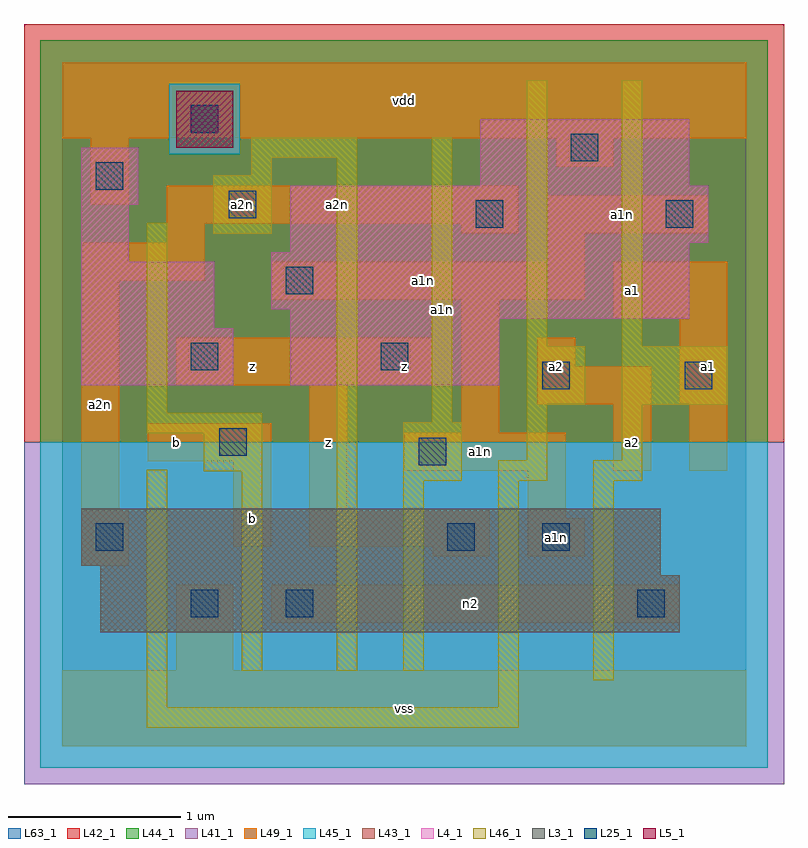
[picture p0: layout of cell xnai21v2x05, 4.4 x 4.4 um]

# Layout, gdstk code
import gdstk
lib = gdstk.Library(unit=1e-6, precision=1e-09)
def R(c, l, rs):  # rectangles x0, y0, x1, y1
    for r in rs: c.add(gdstk.rectangle(r[:2], r[2:], *l))
L3_1 = (3, 1)
L4_1 = (4, 1)
L5_1 = (5, 1)
L25_1 = (25, 1)
L41_1 = (41, 1)
L42_1 = (42, 1)
L43_1 = (43, 1)
L44_1 = (44, 1)
L45_1 = (45, 1)
L46_1 = (46, 1)
L49_1 = (49, 1)
L63_1 = (63, 1)

xnai21v2x05 = lib.new_cell('xnai21v2x05')
R(xnai21v2x05, L3_1, [(0.22,0.66,3.575,0.99), (0.22,0.99,3.465,1.045), (0.11,1.045,3.465,1.375)])
R(xnai21v2x05, L4_1, [(0.11,2.09,0.99,2.42), (1.32,2.09,2.53,2.475), (0.11,2.42,0.88,2.805), (1.32,2.475,3.63,2.53), (1.21,2.53,3.63,2.86), (0.11,2.805,0.385,3.135), (1.32,2.86,3.63,2.915), (1.32,2.915,3.74,3.245), (0.11,3.135,0.44,3.465), (2.42,3.245,3.63,3.63)])
R(xnai21v2x05, L5_1, [(0.66,3.465,0.99,3.795)])
R(xnai21v2x05, L25_1, [(0.745,0.745,0.905,0.905), (1.295,0.745,1.455,0.905), (3.33,0.745,3.49,0.905), (0.195,1.13,0.355,1.29), (2.23,1.13,2.39,1.29), (2.78,1.13,2.94,1.29), (2.065,1.625,2.225,1.785), (0.91,1.68,1.07,1.84), (2.78,2.065,2.94,2.225), (3.605,2.065,3.765,2.225), (0.745,2.175,0.905,2.335), (1.845,2.175,2.005,2.335), (1.295,2.615,1.455,2.775), (2.395,3,2.555,3.16), (3.495,3,3.655,3.16), (0.965,3.055,1.125,3.215), (0.195,3.22,0.355,3.38), (2.945,3.385,3.105,3.545), (0.745,3.55,0.905,3.71)])
R(xnai21v2x05, L41_1, [(-0.22,-0.22,4.18,1.76)])
R(xnai21v2x05, L42_1, [(-0.22,1.76,4.18,4.18)])
R(xnai21v2x05, L43_1, [(0.22,0.66,3.575,0.99), (0.22,0.99,3.465,1.045), (0.11,1.045,3.465,1.375), (0.11,2.09,0.99,2.42), (1.32,2.09,2.53,2.475), (0.11,2.42,0.88,2.805), (1.32,2.475,3.63,2.53), (1.21,2.53,3.63,2.86), (0.11,2.805,0.385,3.135), (1.32,2.86,3.63,2.915), (1.32,2.915,3.74,3.245), (0.11,3.135,0.44,3.465), (2.42,3.245,3.63,3.63), (0.66,3.465,0.99,3.795)])
R(xnai21v2x05, L44_1, [(-0.125,1.76,4.085,3.425), (-0.125,3.425,0.62,3.835), (1.03,3.425,4.085,3.835), (-0.125,3.835,4.085,4.085)])
R(xnai21v2x05, L45_1, [(-0.125,-0.125,4.085,1.76), (0.62,3.425,1.03,3.835)])
R(xnai21v2x05, L46_1, [(0.49,0.105,2.645,0.225), (0.49,0.225,0.61,1.6), (2.525,0.225,2.645,1.535), (3.075,0.38,3.195,1.535), (1.04,0.435,1.16,1.59), (1.59,0.435,1.71,3.405), (1.975,0.435,2.095,1.535), (1.975,1.535,2.315,1.875), (2.525,1.535,2.81,1.655), (3.075,1.535,3.36,1.655), (0.82,1.59,1.16,1.81), (2.69,1.655,2.81,1.975), (3.24,1.655,3.36,1.975), (0.49,1.81,1.16,1.93), (2.14,1.875,2.26,3.525), (0.49,1.93,0.61,3.03), (2.69,1.975,3.03,2.315), (3.24,1.975,3.855,2.315), (2.69,2.315,2.81,3.855), (3.24,2.315,3.36,3.855), (0.875,2.965,1.215,3.305), (1.095,3.305,1.215,3.405), (1.095,3.405,1.71,3.525)])
R(xnai21v2x05, L49_1, [(0,0,3.96,0.44), (0.66,0.44,0.99,0.935), (1.21,0.715,3.575,0.935), (0.11,1.045,0.385,1.375), (2.145,1.1,2.475,1.155), (2.695,1.1,3.025,1.32), (0.99,1.155,1.21,1.65), (1.43,1.155,2.475,1.375), (2.695,1.32,2.915,1.595), (0.11,1.375,0.33,2.695), (1.43,1.375,1.65,2.09), (1.98,1.595,2.915,1.815), (3.19,1.595,3.41,1.98), (3.63,1.595,3.85,1.98), (0.495,1.65,1.21,1.87), (2.31,1.815,2.53,2.585), (2.75,1.98,3.41,2.2), (3.575,1.98,3.85,2.475), (0.66,2.09,2.145,2.365), (2.75,2.2,2.97,2.365), (3.19,2.475,3.85,2.805), (1.21,2.585,3.025,2.805), (0.11,2.695,0.825,2.915), (2.805,2.805,3.025,2.97), (0.605,2.915,0.825,3.025), (2.31,2.97,2.64,3.025), (2.805,2.97,3.74,3.19), (0.605,3.025,2.64,3.245), (0.165,3.135,0.385,3.52), (2.86,3.355,3.19,3.52), (0,3.52,3.96,3.96)])
R(xnai21v2x05, L63_1, [(0,0,3.96,3.96)])
xnai21v2x05.add(gdstk.Label('a2n', (1.045,3.135), layer=49, texttype=1))
xnai21v2x05.add(gdstk.Label('a1n', (2.2,2.53), layer=46, texttype=1))
xnai21v2x05.add(gdstk.Label('b', (0.66,1.76), layer=49, texttype=1))
xnai21v2x05.add(gdstk.Label('a2n', (0.22,1.98), layer=49, texttype=1))
xnai21v2x05.add(gdstk.Label('b', (1.1,1.32), layer=49, texttype=1))
xnai21v2x05.add(gdstk.Label('z', (1.54,1.76), layer=49, texttype=1))
xnai21v2x05.add(gdstk.Label('z', (1.1,2.2), layer=49, texttype=1))
xnai21v2x05.add(gdstk.Label('vss', (1.98,0.22), layer=49, texttype=1))
xnai21v2x05.add(gdstk.Label('a1n', (2.42,1.705), layer=49, texttype=1))
xnai21v2x05.add(gdstk.Label('a1n', (2.86,1.21), layer=49, texttype=1))
xnai21v2x05.add(gdstk.Label('a2', (2.86,2.2), layer=49, texttype=1))
xnai21v2x05.add(gdstk.Label('z', (1.98,2.2), layer=49, texttype=1))
xnai21v2x05.add(gdstk.Label('a1n', (2.09,2.695), layer=49, texttype=1))
xnai21v2x05.add(gdstk.Label('a2n', (1.595,3.135), layer=49, texttype=1))
xnai21v2x05.add(gdstk.Label('vdd', (1.98,3.74), layer=49, texttype=1))
xnai21v2x05.add(gdstk.Label('n2', (2.365,0.825), layer=49, texttype=1))
xnai21v2x05.add(gdstk.Label('a2', (3.3,1.76), layer=49, texttype=1))
xnai21v2x05.add(gdstk.Label('a1', (3.74,2.2), layer=49, texttype=1))
xnai21v2x05.add(gdstk.Label('a1', (3.3,2.64), layer=49, texttype=1))
xnai21v2x05.add(gdstk.Label('a1n', (3.245,3.08), layer=49, texttype=1))

lib.write_gds('xnai21v2x05.gds')
